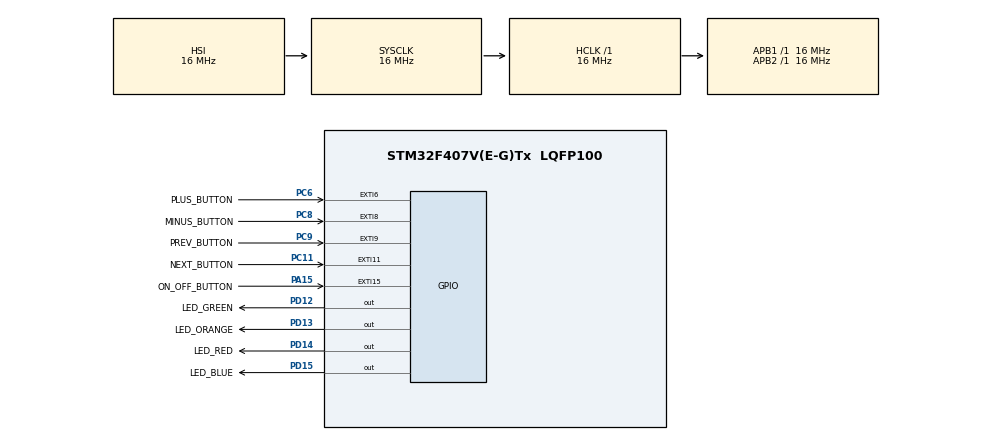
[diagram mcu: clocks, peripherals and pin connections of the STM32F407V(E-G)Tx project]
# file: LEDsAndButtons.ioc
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Mcu.Family=STM32F4
Mcu.Name=STM32F407V(E-G)Tx
Mcu.Package=LQFP100
NVIC.EXTI15_10_IRQn=true\:0\:0\:false\:false\:true\:true\:true
NVIC.EXTI9_5_IRQn=true\:0\:0\:false\:false\:true\:true\:true
NVIC.PriorityGroup=NVIC_PRIORITYGROUP_4
PA15.GPIO_Label=ON_OFF_BUTTON
PA15.GPIO_ModeDefaultEXTI=GPIO_MODE_IT_FALLING
PA15.Signal=GPXTI15
PC11.GPIO_Label=NEXT_BUTTON
PC11.Signal=GPXTI11
PC6.GPIO_Label=PLUS_BUTTON
PC6.GPIO_ModeDefaultEXTI=GPIO_MODE_IT_FALLING
PC6.Signal=GPXTI6
PC8.GPIO_Label=MINUS_BUTTON
PC8.GPIO_ModeDefaultEXTI=GPIO_MODE_IT_RISING
PC8.Signal=GPXTI8
PC9.GPIO_Label=PREV_BUTTON
PC9.Signal=GPXTI9
PD12.GPIO_Label=LED_GREEN
PD12.Signal=GPIO_Output
PD13.GPIO_Label=LED_ORANGE
PD13.Signal=GPIO_Output
PD14.GPIO_Label=LED_RED
PD14.Signal=GPIO_Output
PD15.GPIO_Label=LED_BLUE
PD15.Signal=GPIO_Output
ProjectManager.HeapSize=0x200
ProjectManager.StackSize=0x400
ProjectManager.TargetToolchain=STM32CubeIDE
RCC.AHBFreq_Value=16000000
RCC.APB1Freq_Value=16000000
RCC.APB2Freq_Value=16000000
RCC.CortexFreq_Value=16000000
RCC.HSE_VALUE=25000000
RCC.HSI_VALUE=16000000
RCC.LSE_VALUE=32768
RCC.SYSCLKFreq_VALUE=16000000
RCC.VCOOutputFreq_Value=192000000
board=custom

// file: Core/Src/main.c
/* USER CODE BEGIN Header */
/**
 ******************************************************************************
 * @file           : main.c
 * @brief          : Main program body
 ******************************************************************************
 * @attention
 *
 * <h2><center>&copy; Copyright (c) 2021 STMicroelectronics.
 * All rights reserved.</center></h2>
 *
 * This software component is licensed by ST under BSD 3-Clause license,
 * the "License"; You may not use this file except in compliance with the
 * License. You may obtain a copy of the License at:
 *                        opensource.org/licenses/BSD-3-Clause
 *
 ******************************************************************************
 */
/* USER CODE END Header */
#include "main.h"

/* USER CODE BEGIN PD */
#define MODE_COUNT 3
#define MAX_DELAY 1000
#define MIN_DELAY 50
#define STEP_DELAY 50
/* USER CODE END PD */

void SystemClock_Config(void);
static void MX_GPIO_Init(void);

/* USER CODE BEGIN 0 */

uint8_t isOn = 1;
uint8_t mode = 0;
uint8_t step = 0;
uint32_t delay = 500;

/**
 * @brief  EXTI line detection callbacks.
 * @param  GPIO_Pin Specifies the pins connected EXTI line
 * @retval None
 */
void HAL_GPIO_EXTI_Callback(uint16_t GPIO_Pin) {
	switch (GPIO_Pin) {
	case PLUS_BUTTON_Pin:
		if (delay > MIN_DELAY) {
			delay -= STEP_DELAY;
		}
		break;
	case MINUS_BUTTON_Pin:
		if (delay < MAX_DELAY) {
			delay += STEP_DELAY;
		}
		break;
	case NEXT_BUTTON_Pin:
		if (mode + 1 == MODE_COUNT) {
			mode = 0;
		} else {
			mode++;
		}
		break;
	case PREV_BUTTON_Pin:
		if (mode == 0) {
			mode = MODE_COUNT - 1;
		} else {
			mode--;
		}
		break;
	case ON_OFF_BUTTON_Pin:
		if (isOn) {
			isOn = 0;
			HAL_GPIO_WritePin(GPIOD, LED_RED_Pin | LED_BLUE_Pin | LED_GREEN_Pin | LED_ORANGE_Pin, GPIO_PIN_RESET);
		} else {
			isOn = 1;
		}

		break;
	};
}

/* USER CODE END 0 */

int main(void) {

	/* MCU Configuration--------------------------------------------------------*/

	/* Reset of all peripherals, Initializes the Flash interface and the Systick. */
	HAL_Init();

	/* Configure the system clock */
	SystemClock_Config();

	/* Initialize all configured peripherals */
	MX_GPIO_Init();

	/* Infinite loop */
	/* USER CODE BEGIN WHILE */
	while (1) {

		if (!isOn) {
			continue;
		}

		HAL_GPIO_WritePin(GPIOD, LED_RED_Pin | LED_BLUE_Pin | LED_GREEN_Pin | LED_ORANGE_Pin, GPIO_PIN_RESET);

		switch (mode) {
			case 0:
				// mode 1
				switch (step % 8) {
					case 0:
						HAL_GPIO_WritePin(GPIOD, LED_GREEN_Pin, GPIO_PIN_SET);
						break;
					case 2:
						HAL_GPIO_WritePin(GPIOD, LED_GREEN_Pin | LED_ORANGE_Pin, GPIO_PIN_SET);
						break;
					case 4:
						HAL_GPIO_WritePin(GPIOD, LED_GREEN_Pin | LED_ORANGE_Pin | LED_RED_Pin, GPIO_PIN_SET);
						break;
					case 6:
						HAL_GPIO_WritePin(GPIOD, LED_GREEN_Pin | LED_ORANGE_Pin | LED_RED_Pin | LED_BLUE_Pin, GPIO_PIN_SET);
						break;
					case 1:
					case 3:
					case 5:
					case 7:
						break;
					default:
						break;
				}
				break;
			case 1:
				// mode 2
				switch (step % 8) {
					case 0:
						HAL_GPIO_WritePin(GPIOD, LED_BLUE_Pin, GPIO_PIN_SET);
						break;
					case 2:
						HAL_GPIO_WritePin(GPIOD, LED_BLUE_Pin | LED_RED_Pin, GPIO_PIN_SET);
						break;
					case 4:
						HAL_GPIO_WritePin(GPIOD, LED_BLUE_Pin | LED_RED_Pin | LED_ORANGE_Pin, GPIO_PIN_SET);
						break;
					case 6:
						HAL_GPIO_WritePin(GPIOD, LED_GREEN_Pin | LED_ORANGE_Pin | LED_RED_Pin | LED_BLUE_Pin, GPIO_PIN_SET);
						break;
					case 1:
					case 3:
					case 5:
					case 7:
						break;
					default:
						break;
				}
				break;
			case 2:
				// mode 3
				switch (step % 8) {
					case 0:
						HAL_GPIO_WritePin(GPIOD, LED_RED_Pin, GPIO_PIN_SET);
						break;
					case 1:
						HAL_GPIO_WritePin(GPIOD, LED_RED_Pin | LED_BLUE_Pin, GPIO_PIN_SET);
						break;
					case 2:
						HAL_GPIO_WritePin(GPIOD, LED_RED_Pin | LED_BLUE_Pin | LED_GREEN_Pin, GPIO_PIN_SET);
						break;
					case 3:
						HAL_GPIO_WritePin(GPIOD, LED_GREEN_Pin | LED_ORANGE_Pin | LED_RED_Pin | LED_BLUE_Pin, GPIO_PIN_SET);
						break;
					case 4:
						HAL_GPIO_WritePin(GPIOD, LED_BLUE_Pin | LED_GREEN_Pin | LED_ORANGE_Pin, GPIO_PIN_SET);
						break;
					case 5:
						HAL_GPIO_WritePin(GPIOD, LED_GREEN_Pin | LED_ORANGE_Pin, GPIO_PIN_SET);
						break;
					case 6:
						HAL_GPIO_WritePin(GPIOD, LED_ORANGE_Pin, GPIO_PIN_SET);
						break;
					case 7:
						break;
				}
				break;
			default:
				break;
		}

		step += 1;
		HAL_Delay(delay);

		/* USER CODE END WHILE */

	}
}

void SystemClock_Config(void) {
	RCC_OscInitTypeDef RCC_OscInitStruct = { 0 };
	RCC_ClkInitTypeDef RCC_ClkInitStruct = { 0 };

	/** Configure the main internal regulator output voltage
	 */
	__HAL_RCC_PWR_CLK_ENABLE();
	__HAL_PWR_VOLTAGESCALING_CONFIG(PWR_REGULATOR_VOLTAGE_SCALE1);
	/** Initializes the RCC Oscillators according to the specified parameters
	 * in the RCC_OscInitTypeDef structure.
	 */
	RCC_OscInitStruct.OscillatorType = RCC_OSCILLATORTYPE_HSI;
	RCC_OscInitStruct.HSIState = RCC_HSI_ON;
	RCC_OscInitStruct.HSICalibrationValue = RCC_HSICALIBRATION_DEFAULT;
	RCC_OscInitStruct.PLL.PLLState = RCC_PLL_NONE;
	if (HAL_RCC_OscConfig(&RCC_OscInitStruct) != HAL_OK) {
		Error_Handler();
	}
	/** Initializes the CPU, AHB and APB buses clocks
	 */
	RCC_ClkInitStruct.ClockType = RCC_CLOCKTYPE_HCLK | RCC_CLOCKTYPE_SYSCLK
			| RCC_CLOCKTYPE_PCLK1 | RCC_CLOCKTYPE_PCLK2;
	RCC_ClkInitStruct.SYSCLKSource = RCC_SYSCLKSOURCE_HSI;
	RCC_ClkInitStruct.AHBCLKDivider = RCC_SYSCLK_DIV1;
	RCC_ClkInitStruct.APB1CLKDivider = RCC_HCLK_DIV1;
	RCC_ClkInitStruct.APB2CLKDivider = RCC_HCLK_DIV1;

	if (HAL_RCC_ClockConfig(&RCC_ClkInitStruct, FLASH_LATENCY_0) != HAL_OK) {
		Error_Handler();
	}
}

static void MX_GPIO_Init(void) {
	GPIO_InitTypeDef GPIO_InitStruct = { 0 };

	/* GPIO Ports Clock Enable */
	__HAL_RCC_GPIOD_CLK_ENABLE();
	__HAL_RCC_GPIOC_CLK_ENABLE();
	__HAL_RCC_GPIOA_CLK_ENABLE();

	/*Configure GPIO pin Output Level */
	HAL_GPIO_WritePin(GPIOD,
			LED_GREEN_Pin | LED_ORANGE_Pin | LED_RED_Pin | LED_BLUE_Pin,
			GPIO_PIN_RESET);

	/*Configure GPIO pins : LED_GREEN_Pin LED_ORANGE_Pin LED_RED_Pin LED_BLUE_Pin */
	GPIO_InitStruct.Pin = LED_GREEN_Pin | LED_ORANGE_Pin | LED_RED_Pin
			| LED_BLUE_Pin;
	GPIO_InitStruct.Mode = GPIO_MODE_OUTPUT_PP;
	GPIO_InitStruct.Pull = GPIO_NOPULL;
	GPIO_InitStruct.Speed = GPIO_SPEED_FREQ_LOW;
	HAL_GPIO_Init(GPIOD, &GPIO_InitStruct);

	/*Configure GPIO pin : PLUS_BUTTON_Pin */
	GPIO_InitStruct.Pin = PLUS_BUTTON_Pin;
	GPIO_InitStruct.Mode = GPIO_MODE_IT_FALLING;
	GPIO_InitStruct.Pull = GPIO_NOPULL;
	HAL_GPIO_Init(PLUS_BUTTON_GPIO_Port, &GPIO_InitStruct);

	/*Configure GPIO pins : MINUS_BUTTON_Pin PREV_BUTTON_Pin NEXT_BUTTON_Pin */
	GPIO_InitStruct.Pin = MINUS_BUTTON_Pin | PREV_BUTTON_Pin | NEXT_BUTTON_Pin;
	GPIO_InitStruct.Mode = GPIO_MODE_IT_RISING;
	GPIO_InitStruct.Pull = GPIO_NOPULL;
	HAL_GPIO_Init(GPIOC, &GPIO_InitStruct);

	/*Configure GPIO pin : ON_OFF_BUTTON_Pin */
	GPIO_InitStruct.Pin = ON_OFF_BUTTON_Pin;
	GPIO_InitStruct.Mode = GPIO_MODE_IT_FALLING;
	GPIO_InitStruct.Pull = GPIO_NOPULL;
	HAL_GPIO_Init(ON_OFF_BUTTON_GPIO_Port, &GPIO_InitStruct);

	/* EXTI interrupt init*/
	HAL_NVIC_SetPriority(EXTI9_5_IRQn, 0, 0);
	HAL_NVIC_EnableIRQ(EXTI9_5_IRQn);

	HAL_NVIC_SetPriority(EXTI15_10_IRQn, 0, 0);
	HAL_NVIC_EnableIRQ(EXTI15_10_IRQn);

}

void Error_Handler(void) {
	__disable_irq();
	while (1) {
	}
}

/************************ (C) COPYRIGHT STMicroelectronics *****END OF FILE****/
